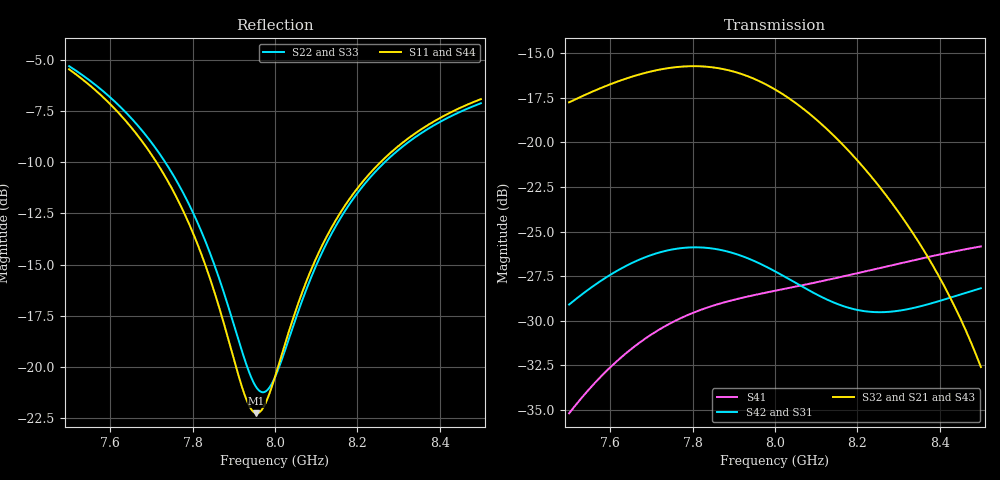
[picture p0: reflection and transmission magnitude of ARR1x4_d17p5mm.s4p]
! Touchstone file exported from HFSS 2025.1.0
!  File:  C:/Users/user/Documents/Ansoft/TFG_UWB-MIMO-Array.aedt
!  Generated:  05:34:58 PM Nov 20, 2026
!  Design:  ARR1x4_P01_MS2_dparam
!  Project:  TFG_UWB-MIMO-Array
!  Setup:  Setup_ch9
!  Solution:  Sweep_7p5_8p5
! Variables:
!  arr_d = 17.5mm
!  board_m = 13mm
!  board_x = 78.5mm
!  board_y = 26mm
!  cu_t = 0.035mm
!  line_w = 3.92mm
!  pad_xy = 22mm
!  pad_zn = 25mm
!  pad_zp = 33mm
!  patch_L = 7.322mm
!  patch_W = 11.421266mm
!  sub_h = 2.07mm
!  tr_l = 7.1mm
!  tr_w = 0.8mm
# GHz S MA R 50.000000
! Terminal data exported
! Port[1] = P1
! Port[2] = P2
! Port[3] = P3
! Port[4] = P4
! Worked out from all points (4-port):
!   1001 points, 7.5 GHz to 8.5 GHz, reference 50 ohm
!   strongest paths, dB at 7.5 GHz, 7.75 GHz, 8 GHz, 8.25 GHz, 8.5 GHz:
!     S32: -17.8, -15.8, -17.0, -22.4, -32.6
!     S21: -17.6, -16.0, -17.4, -22.5, -32.1
!     S43: -17.6, -16.0, -17.4, -22.6, -32.1
!     S42: -29.1, -26.0, -27.2, -29.5, -28.2
!     S31: -29.2, -26.1, -27.3, -29.7, -28.3
!     S41: -35.2, -30.1, -28.3, -27.1, -25.8
!   lowest |S11| = -22.3 dB at 7.955 GHz (marker M1), VSWR 1.17, Z = 57.7 + j3.15 ohm
!   |S11| at or under -10 dB: 7.712 GHz to 8.256 GHz (543.8 MHz wide, 6.81 % of centre)
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7.5  0.5336 158.8  0.1314 -33.3  0.03484 -178.6  0.01741 1.6
     0.1314 -33.3  0.5432 161.0  0.1295 -30.9  0.03513 -178.9
     0.03484 -178.6  0.1295 -30.9  0.5431 160.7  0.1315 -33.4
     0.01741 1.6  0.03513 -178.9  0.1315 -33.4  0.5326 158.6
7.756  0.2653 120.1  0.1584 -84.9  0.04988 107.1  0.03155 -88.1
       0.1584 -84.9  0.2906 122.6  0.1623 -82.1  0.05024 106.7
       0.04988 107.1  0.1623 -82.1  0.2916 122.1  0.1584 -84.9
       0.03155 -88.1  0.05024 106.7  0.1584 -84.9  0.2644 119.8
7.955  0.07698 20.6  0.144 -131.0  0.04576 33.4  0.03746 -173.3
       0.144 -131.0  0.08902 34.8  0.1497 -129.2  0.04621 32.9
       0.04576 33.4  0.1497 -129.2  0.09251 34.8  0.1439 -131.0
       0.03746 -173.3  0.04621 32.9  0.1439 -131.0  0.07742 20.2
7.995  0.09113 -17.6  0.1364 -140.3  0.04336 17.0  0.03829 169.2
       0.1364 -140.3  0.09204 -3.8  0.1418 -138.6  0.04384 16.5
       0.04336 17.0  0.1418 -138.6  0.09511 -2.7  0.1363 -140.3
       0.03829 169.2  0.04384 16.5  0.1363 -140.3  0.09166 -17.7
8.184  0.2598 -81.7  0.09077 179.1  0.03368 -66.1  0.04258 92.5
       0.09077 179.1  0.2525 -79.2  0.0933 -179.5  0.03427 -66.2
       0.03368 -66.1  0.0933 -179.5  0.2531 -78.3  0.09064 179.2
       0.04258 92.5  0.03427 -66.2  0.09064 179.2  0.2596 -81.7
8.362  0.3847 -106.1  0.04984 146.8  0.03442 -138.5  0.04747 34.2
       0.04984 146.8  0.3764 -105.2  0.0497 149.6  0.03494 -138.2
       0.03442 -138.5  0.0497 149.6  0.3769 -104.7  0.04971 147.1
       0.04747 34.2  0.03494 -138.2  0.04971 147.1  0.384 -106.1
8.5  0.4513 -120.3  0.02479 125.7  0.03859 178.5  0.05111 -3.2
     0.02479 125.7  0.4409 -119.8  0.02347 133.6  0.03902 178.9
     0.03859 178.5  0.02347 133.6  0.4415 -119.4  0.02469 126.6
     0.05111 -3.2  0.03902 178.9  0.02469 126.6  0.4503 -120.4
